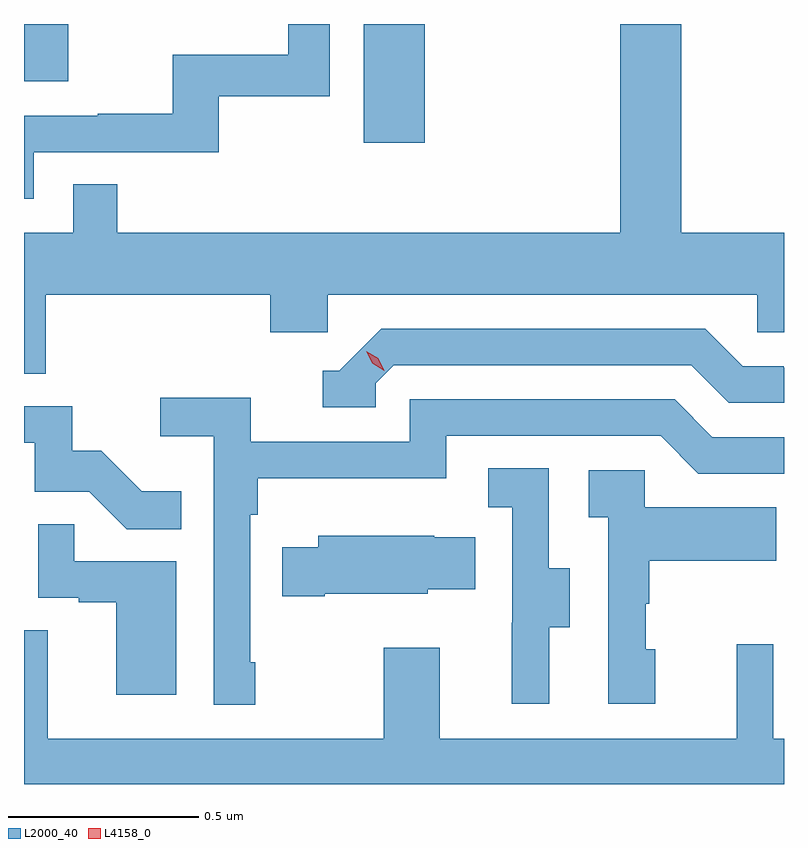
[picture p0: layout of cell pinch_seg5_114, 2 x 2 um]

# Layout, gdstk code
import gdstk
lib = gdstk.Library(unit=1e-6, precision=1e-09)
def R(c, l, rs):  # rectangles x0, y0, x1, y1
    for r in rs: c.add(gdstk.rectangle(r[:2], r[2:], *l))
def P(c, l, *ps):  # polygons
    for p in ps: c.add(gdstk.Polygon(p, *l))
L2000_40 = (2000, 40)
L4158_0 = (4158, 0)

pinch_seg5_114 = lib.new_cell('pinch_seg5_114')
R(pinch_seg5_114, L2000_40, [(1035.347,879.804,1035.508,880.117)])
P(pinch_seg5_114, L2000_40, [(1034.51,879.404),(1035.101,879.404),(1035.101,879.306),(1035.252,879.306),(1035.252,879.404),(1036.383,879.404),(1036.383,879.306),(1036.453,879.306),(1036.453,879.568),(1036.182,879.568),(1036.182,880.117),(1036.022,880.117),(1036.022,879.568),(1034.699,879.568),(1034.699,879.695),(1034.583,879.695),(1034.583,879.568),(1034.453,879.568),(1034.453,879.196),(1034.51,879.196)],
  [(1034.57,880.117),(1034.454,880.117),(1034.454,880.062),(1034.453,880.062),(1034.453,879.966),(1034.57,879.966)],
  [(1034.478,879.78),(1034.965,879.78),(1034.965,879.927),(1035.258,879.927),(1035.258,880.117),(1035.149,880.117),(1035.149,880.036),(1034.844,880.036),(1034.844,879.881),(1034.647,879.881),(1034.647,879.876),(1034.453,879.876),(1034.453,879.657),(1034.478,879.657)],
  [(1035.378,879.171),(1035.426,879.219),(1036.209,879.219),(1036.308,879.12),(1036.453,879.12),(1036.453,879.213),(1036.452,879.213),(1036.452,879.216),(1036.345,879.216),(1036.246,879.315),(1035.393,879.315),(1035.282,879.204),(1035.239,879.204),(1035.239,879.108),(1035.378,879.108)],
  [(1035.061,878.437),(1035.048,878.437),(1035.048,878.825),(1035.068,878.825),(1035.068,878.921),(1035.564,878.921),(1035.564,879.033),(1036.128,879.033),(1036.227,878.934),(1036.453,878.934),(1036.453,879.03),(1036.264,879.03),(1036.165,879.129),(1035.468,879.129),(1035.468,879.018),(1035.05,879.018),(1035.05,879.134),(1034.811,879.134),(1034.811,879.032),(1034.952,879.032),(1034.952,878.325),(1035.061,878.325)],
  [(1034.867,878.887),(1034.763,878.887),(1034.656,878.994),(1034.58,878.994),(1034.58,879.111),(1034.453,879.111),(1034.453,879.015),(1034.481,879.015),(1034.481,878.886),(1034.625,878.886),(1034.723,878.788),(1034.867,878.788)],
  [(1035.835,878.53),(1035.889,878.53),(1035.889,878.685),(1035.834,878.685),(1035.834,878.948),(1035.675,878.948),(1035.675,878.845),(1035.738,878.845),(1035.738,878.541),(1035.737,878.541),(1035.737,878.328),(1035.835,878.328)],
  [(1036.114,878.472),(1036.089,878.472),(1036.089,878.591),(1036.099,878.591),(1036.099,878.705),(1036.433,878.705),(1036.433,878.845),(1036.086,878.845),(1036.086,878.943),(1035.939,878.943),(1035.939,878.819),(1035.99,878.819),(1035.99,878.328),(1036.114,878.328)],
  [(1034.854,878.703),(1034.585,878.703),(1034.585,878.801),(1034.49,878.801),(1034.49,878.607),(1034.597,878.607),(1034.597,878.595),(1034.696,878.595),(1034.696,878.352),(1034.854,878.352)],
  [(1035.244,878.618),(1035.516,878.618),(1035.516,878.63),(1035.641,878.63),(1035.641,878.767),(1035.533,878.767),(1035.533,878.77),(1035.227,878.77),(1035.227,878.74),(1035.133,878.74),(1035.133,878.611),(1035.244,878.611)],
  [(1036.453,878.236),(1036.425,878.236),(1036.425,878.485),(1036.328,878.485),(1036.328,878.236),(1035.547,878.236),(1035.547,878.476),(1035.4,878.476),(1035.4,878.236),(1034.515,878.236),(1034.515,878.522),(1034.453,878.522),(1034.453,878.117),(1036.453,878.117)])
P(pinch_seg5_114, L4158_0, [(1035.401,879.204),(1035.37,879.224),(1035.354,879.256),(1035.354,879.256),(1035.354,879.256),(1035.385,879.237),(1035.401,879.204),(1035.401,879.204)])

lib.write_gds('pinch_seg5_114.gds')
